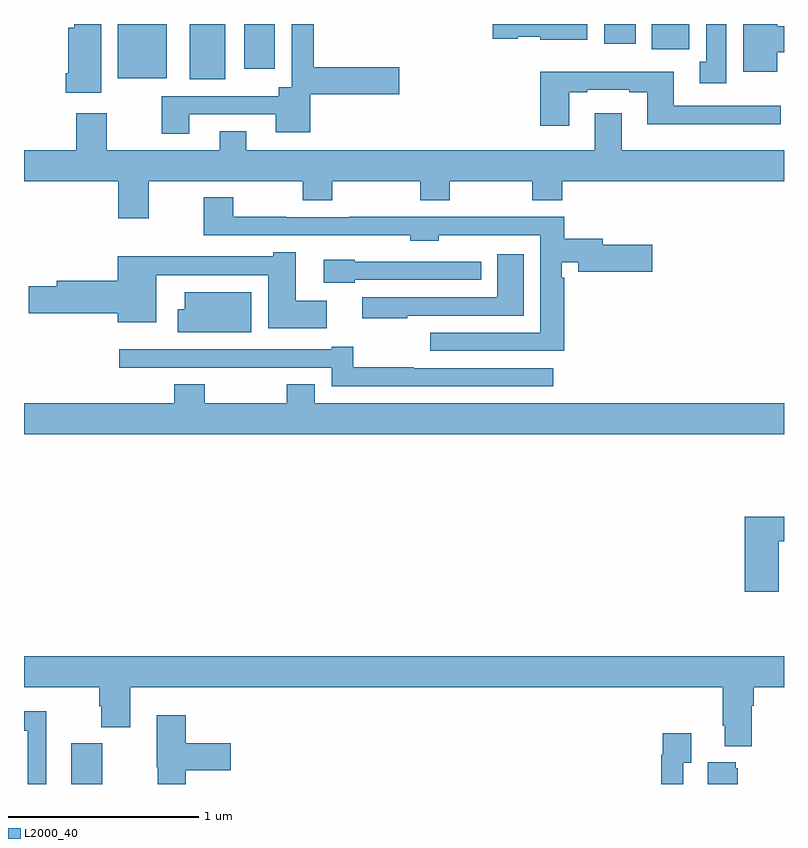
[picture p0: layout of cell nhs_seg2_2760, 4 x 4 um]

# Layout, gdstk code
import gdstk
lib = gdstk.Library(unit=1e-6, precision=1e-09)
def R(c, l, rs):  # rectangles x0, y0, x1, y1
    for r in rs: c.add(gdstk.rectangle(r[:2], r[2:], *l))
def P(c, l, *ps):  # polygons
    for p in ps: c.add(gdstk.Polygon(p, *l))
L2000_40 = (2000, 40)

nhs_seg2_2760 = lib.new_cell('nhs_seg2_2760')
R(nhs_seg2_2760, L2000_40, [(255.248,641.8,255.412,642.015), (255.872,645.509,256.06,645.8), (255.494,645.515,255.751,645.8), (256.16,645.564,256.321,645.8), (258.305,645.668,258.502,645.8), (258.053,645.696,258.22,645.8)])
P(nhs_seg2_2760, L2000_40, [(255.871,645.324),(256.325,645.324),(256.325,645.23),(256.507,645.23),(256.507,645.43),(256.975,645.43),(256.975,645.572),(256.526,645.572),(256.526,645.8),(256.41,645.8),(256.41,645.466),(256.34,645.466),(256.34,645.42),(255.724,645.42),(255.724,645.222),(255.871,645.222)],
  [(257.965,645.8),(257.466,645.8),(257.466,645.722),(257.598,645.722),(257.598,645.734),(257.718,645.734),(257.718,645.716),(257.965,645.716)],
  [(255.406,645.8),(255.265,645.8),(255.265,645.781),(255.233,645.781),(255.233,645.541),(255.221,645.541),(255.221,645.437),(255.406,645.437)],
  [(258.697,645.8),(258.59,645.8),(258.59,645.602),(258.557,645.602),(258.557,645.489),(258.697,645.489)],
  [(258.964,645.652),(259,645.652),(259,645.788),(258.964,645.788),(258.964,645.8),(258.785,645.8),(258.785,645.548),(258.964,645.548)],
  [(257.869,645.441),(257.965,645.441),(257.965,645.453),(258.185,645.453),(258.185,645.441),(258.281,645.441),(258.281,645.272),(258.982,645.272),(258.982,645.369),(258.421,645.369),(258.421,645.55),(257.717,645.55),(257.717,645.264),(257.869,645.264)],
  [(256.171,645.235),(256.031,645.235),(256.031,645.136),(255.435,645.136),(255.435,645.331),(255.275,645.331),(255.275,645.136),(255,645.136),(255,644.972),(255.497,644.972),(255.497,644.778),(255.657,644.778),(255.657,644.972),(256.468,644.972),(256.468,644.873),(256.623,644.873),(256.623,644.972),(257.086,644.972),(257.086,644.873),(257.241,644.873),(257.241,644.972),(257.674,644.972),(257.674,644.873),(257.834,644.873),(257.834,644.972),(259,644.972),(259,645.136),(258.145,645.136),(258.145,645.331),(258.005,645.331),(258.005,645.136),(256.171,645.136)],
  [(257.843,644.465),(257.83,644.465),(257.83,644.546),(257.918,644.546),(257.918,644.495),(258.307,644.495),(258.307,644.637),(258.046,644.637),(258.046,644.671),(257.843,644.671),(257.843,644.786),(256.711,644.786),(256.711,644.784),(256.379,644.784),(256.379,644.786),(256.101,644.786),(256.101,644.887),(255.946,644.887),(255.946,644.688),(257.034,644.688),(257.034,644.66),(257.184,644.66),(257.184,644.687),(257.396,644.687),(257.396,644.688),(257.717,644.688),(257.717,644.175),(257.139,644.175),(257.139,644.079),(257.843,644.079)],
  [(256.594,644.344),(256.429,644.344),(256.429,644.599),(256.311,644.599),(256.311,644.578),(255.494,644.578),(255.494,644.45),(255.173,644.45),(255.173,644.42),(255.024,644.42),(255.024,644.278),(255.494,644.278),(255.494,644.231),(255.697,644.231),(255.697,644.477),(256.286,644.477),(256.286,644.198),(256.594,644.198)],
  [(257.017,644.265),(257.629,644.265),(257.629,644.587),(257.492,644.587),(257.492,644.361),(256.781,644.361),(256.781,644.252),(257.017,644.252)],
  [(256.74,644.454),(257.407,644.454),(257.407,644.55),(256.74,644.55),(256.74,644.56),(256.578,644.56),(256.578,644.439),(256.74,644.439)],
  [(256.195,644.389),(255.845,644.389),(255.845,644.299),(255.809,644.299),(255.809,644.177),(256.195,644.177)],
  [(257.785,643.989),(257.051,643.989),(257.051,643.994),(256.733,643.994),(256.733,644.101),(256.619,644.101),(256.619,644.088),(255.713,644.088),(255.713,644.089),(255.501,644.089),(255.501,643.992),(256.039,643.992),(256.039,643.991),(256.295,643.991),(256.295,643.992),(256.619,643.992),(256.619,643.893),(257.785,643.893)],
  [(259,643.804),(256.531,643.804),(256.531,643.903),(256.384,643.903),(256.384,643.804),(255.951,643.804),(255.951,643.903),(255.791,643.903),(255.791,643.804),(255,643.804),(255,643.64),(259,643.64)],
  [(258.972,643.078),(259,643.078),(259,643.207),(258.794,643.207),(258.794,642.813),(258.972,642.813)],
  [(258.829,642.212),(258.842,642.212),(258.842,642.308),(259,642.308),(259,642.472),(255,642.472),(255,642.308),(255.395,642.308),(255.395,642.209),(255.407,642.209),(255.407,642.1),(255.56,642.1),(255.56,642.308),(258.677,642.308),(258.677,642.106),(258.689,642.106),(258.689,641.999),(258.829,641.999)],
  [(255.118,642.184),(255,642.184),(255,642.08),(255.021,642.08),(255.021,641.8),(255.118,641.8)],
  [(255.851,641.873),(256.087,641.873),(256.087,642.015),(255.851,642.015),(255.851,642.163),(255.698,642.163),(255.698,641.889),(255.705,641.889),(255.705,641.8),(255.851,641.8)],
  [(258.471,641.911),(258.511,641.911),(258.511,642.067),(258.363,642.067),(258.363,641.954),(258.355,641.954),(258.355,641.8),(258.471,641.8)],
  [(258.757,641.883),(258.746,641.883),(258.746,641.914),(258.599,641.914),(258.599,641.8),(258.757,641.8)])

lib.write_gds('nhs_seg2_2760.gds')
